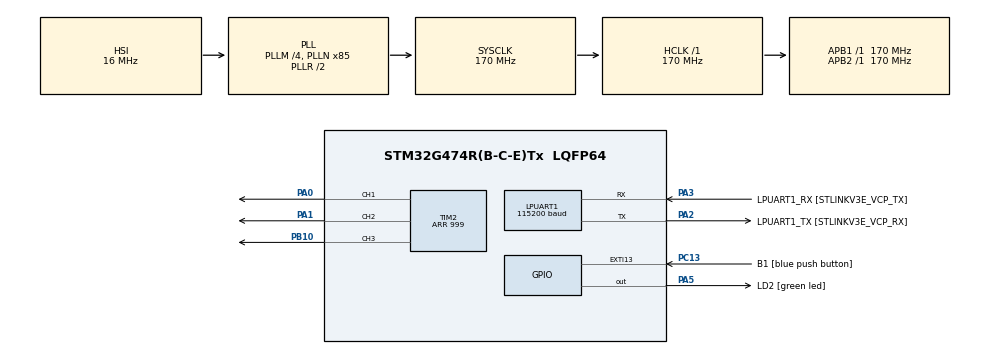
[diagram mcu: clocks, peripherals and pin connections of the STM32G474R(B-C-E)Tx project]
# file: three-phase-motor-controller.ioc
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Dma.Request0=TIM2_CH1
Dma.Request1=TIM2_CH2
Dma.Request2=TIM2_CH3
Dma.TIM2_CH1.0.Direction=DMA_MEMORY_TO_PERIPH
Dma.TIM2_CH1.0.EventEnable=DISABLE
Dma.TIM2_CH1.0.Instance=DMA1_Channel1
Dma.TIM2_CH1.0.MemDataAlignment=DMA_MDATAALIGN_WORD
Dma.TIM2_CH1.0.MemInc=DMA_MINC_ENABLE
Dma.TIM2_CH1.0.Mode=DMA_CIRCULAR
Dma.TIM2_CH1.0.PeriphDataAlignment=DMA_PDATAALIGN_WORD
Dma.TIM2_CH1.0.PeriphInc=DMA_PINC_DISABLE
Dma.TIM2_CH1.0.Polarity=HAL_DMAMUX_REQ_GEN_RISING
Dma.TIM2_CH1.0.Priority=DMA_PRIORITY_HIGH
Dma.TIM2_CH1.0.RequestNumber=1
Dma.TIM2_CH1.0.SignalID=NONE
Dma.TIM2_CH1.0.SyncEnable=DISABLE
Dma.TIM2_CH1.0.SyncPolarity=HAL_DMAMUX_SYNC_NO_EVENT
Dma.TIM2_CH1.0.SyncRequestNumber=1
Dma.TIM2_CH1.0.SyncSignalID=NONE
Dma.TIM2_CH2.1.Direction=DMA_MEMORY_TO_PERIPH
Dma.TIM2_CH2.1.EventEnable=DISABLE
Dma.TIM2_CH2.1.Instance=DMA1_Channel2
Dma.TIM2_CH2.1.MemDataAlignment=DMA_MDATAALIGN_WORD
Dma.TIM2_CH2.1.MemInc=DMA_MINC_ENABLE
Dma.TIM2_CH2.1.Mode=DMA_CIRCULAR
Dma.TIM2_CH2.1.PeriphDataAlignment=DMA_PDATAALIGN_WORD
Dma.TIM2_CH2.1.PeriphInc=DMA_PINC_DISABLE
Dma.TIM2_CH2.1.Polarity=HAL_DMAMUX_REQ_GEN_RISING
Dma.TIM2_CH2.1.Priority=DMA_PRIORITY_HIGH
Dma.TIM2_CH2.1.RequestNumber=1
Dma.TIM2_CH2.1.SignalID=NONE
Dma.TIM2_CH2.1.SyncEnable=DISABLE
Dma.TIM2_CH2.1.SyncPolarity=HAL_DMAMUX_SYNC_NO_EVENT
Dma.TIM2_CH2.1.SyncRequestNumber=1
Dma.TIM2_CH2.1.SyncSignalID=NONE
Dma.TIM2_CH3.2.Direction=DMA_MEMORY_TO_PERIPH
Dma.TIM2_CH3.2.EventEnable=DISABLE
Dma.TIM2_CH3.2.Instance=DMA1_Channel3
Dma.TIM2_CH3.2.MemDataAlignment=DMA_MDATAALIGN_WORD
Dma.TIM2_CH3.2.MemInc=DMA_MINC_ENABLE
Dma.TIM2_CH3.2.Mode=DMA_CIRCULAR
Dma.TIM2_CH3.2.PeriphDataAlignment=DMA_PDATAALIGN_WORD
Dma.TIM2_CH3.2.PeriphInc=DMA_PINC_DISABLE
Dma.TIM2_CH3.2.Polarity=HAL_DMAMUX_REQ_GEN_RISING
Dma.TIM2_CH3.2.Priority=DMA_PRIORITY_LOW
Dma.TIM2_CH3.2.RequestNumber=1
Dma.TIM2_CH3.2.SignalID=NONE
Dma.TIM2_CH3.2.SyncEnable=DISABLE
Dma.TIM2_CH3.2.SyncPolarity=HAL_DMAMUX_SYNC_NO_EVENT
Dma.TIM2_CH3.2.SyncRequestNumber=1
Dma.TIM2_CH3.2.SyncSignalID=NONE
LPUART1.BaudRate=115200
LPUART1.WordLength=UART_WORDLENGTH_8B
Mcu.Family=STM32G4
Mcu.Name=STM32G474R(B-C-E)Tx
Mcu.Package=LQFP64
NVIC.DMA1_Channel1_IRQn=true\:0\:0\:false\:false\:true\:false\:true
NVIC.DMA1_Channel2_IRQn=true\:0\:0\:false\:false\:true\:false\:true
NVIC.DMA1_Channel3_IRQn=true\:0\:0\:false\:false\:true\:false\:true
NVIC.EXTI15_10_IRQn=true\:0\:0\:false\:false\:true\:true\:true
NVIC.PriorityGroup=NVIC_PRIORITYGROUP_4
NVIC.TIM2_IRQn=true\:0\:0\:false\:false\:true\:true\:true
PA0.Signal=S_TIM2_CH1
PA1.Signal=S_TIM2_CH2
PA13.GPIO_Label=T_SWDIO
PA13.Mode=Serial_Wire
PA13.Signal=SYS_JTMS-SWDIO
PA14.GPIO_Label=T_SWCLK
PA14.Mode=Serial_Wire
PA14.Signal=SYS_JTCK-SWCLK
PA2.GPIO_Label=LPUART1_TX [STLINKV3E_VCP_RX]
PA2.Mode=Asynchronous
PA2.Signal=LPUART1_TX
PA3.GPIO_Label=LPUART1_RX [STLINKV3E_VCP_TX]
PA3.Mode=Asynchronous
PA3.Signal=LPUART1_RX
PA5.GPIO_Label=LD2 [green led]
PA5.Signal=GPIO_Output
PB10.Signal=S_TIM2_CH3
PB3.GPIO_Label=T_SWO
PB3.Signal=SYS_JTDO-SWO
PC13.GPIO_Label=B1 [blue push button]
PC13.Signal=GPXTI13
PC14-OSC32_IN.Mode=LSE-External-Oscillator
PC14-OSC32_IN.Signal=RCC_OSC32_IN
PC15-OSC32_OUT.Mode=LSE-External-Oscillator
PC15-OSC32_OUT.Signal=RCC_OSC32_OUT
PF0-OSC_IN.Mode=HSE-External-Oscillator
PF0-OSC_IN.Signal=RCC_OSC_IN
PF1-OSC_OUT.Mode=HSE-External-Oscillator
PF1-OSC_OUT.Signal=RCC_OSC_OUT
ProjectManager.HeapSize=0x200
ProjectManager.StackSize=0x400
ProjectManager.TargetToolchain=Makefile
RCC.ADC12Freq_Value=170000000
RCC.ADC345Freq_Value=170000000
RCC.AHBFreq_Value=170000000
RCC.APB1Freq_Value=170000000
RCC.APB1TimFreq_Value=170000000
RCC.APB2Freq_Value=170000000
RCC.APB2TimFreq_Value=170000000
RCC.CortexFreq_Value=170000000
RCC.EXTERNAL_CLOCK_VALUE=12288000
RCC.HCLKFreq_Value=170000000
RCC.HSE_VALUE=24000000
RCC.HSI48_VALUE=48000000
RCC.HSI_VALUE=16000000
RCC.PLLM=RCC_PLLM_DIV4
RCC.PLLN=85
RCC.RTCClockSelection=RCC_RTCCLKSOURCE_LSE
RCC.SYSCLKFreq_VALUE=170000000
RCC.SYSCLKSource=RCC_SYSCLKSOURCE_PLLCLK
RCC.USBFreq_Value=170000000
RCC.VCOOutputFreq_Value=340000000
SH.S_TIM2_CH1.0=TIM2_CH1,PWM Generation1 CH1
SH.S_TIM2_CH2.0=TIM2_CH2,PWM Generation2 CH2
SH.S_TIM2_CH3.0=TIM2_CH3,PWM Generation3 CH3
TIM2.Channel-PWM\ Generation1\ CH1=TIM_CHANNEL_1
TIM2.Channel-PWM\ Generation2\ CH2=TIM_CHANNEL_2
TIM2.Channel-PWM\ Generation3\ CH3=TIM_CHANNEL_3
TIM2.PeriodNoDither=999
VP_SYS_VS_DBSignals.Mode=DisableDeadBatterySignals
VP_TIM2_VS_ClockSourceINT.Mode=Internal
board=NUCLEO-G474RE

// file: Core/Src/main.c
/* USER CODE BEGIN Header */
/**
 ******************************************************************************
 * @file           : main.c
 * @brief          : Main program body
 ******************************************************************************
 * @attention
 *
 * <h2><center>&copy; Copyright (c) 2020 STMicroelectronics.
 * All rights reserved.</center></h2>
 *
 * This software component is licensed by ST under BSD 3-Clause license,
 * the "License"; You may not use this file except in compliance with the
 * License. You may obtain a copy of the License at:
 *                        opensource.org/licenses/BSD-3-Clause
 *
 ******************************************************************************
 */
/* USER CODE END Header */
#include "main.h"

#include "dma.h"
#include "gpio.h"
#include "tim.h"
#include "usart.h"

/* USER CODE BEGIN Includes */
#include "math.h"

/* USER CODE END Includes */

/* USER CODE BEGIN PD */
#define good_sampling_value 300
/* USER CODE END PD */

/* USER CODE BEGIN PV */
uint32_t sin_samp_chn1[] = {
    5312,  5729,  6143,  6552,  6954,  7345,  7724,  8088,  8435,  8762,
    9069,  9352,  9610,  9842,  10045, 10220, 10364, 10478, 10559, 10608,
    10625, 10608, 10559, 10478, 10364, 10220, 10045, 9842,  9610,  9352,
    9069,  8762,  8435,  8088,  7724,  7345,  6954,  6552,  6143,  5729,
    5312,  4895,  4481,  4072,  3670,  3279,  2900,  2536,  2189,  1862,
    1555,  1272,  1014,  782,   579,   404,   260,   146,   65,    16,
    0,     16,    65,    146,   260,   404,   579,   782,   1014,  1272,
    1555,  1862,  2189,  2536,  2900,  3279,  3670,  4072,  4481,  4895};
uint32_t sin_samp_chn2[] = {
    9913,  9690,  9441,  9166,  8867,  8546,  8205,  7847,  7473,  7085,
    6687,  6280,  5867,  5451,  5034,  4619,  4207,  3803,  3408,  3025,
    2656,  2303,  1969,  1655,  1364,  1097,  857,   643,   459,   304,
    181,   88,    29,    1,     7,     45,    116,   218,   352,   517,
    711,   934,   1183,  1458,  1757,  2078,  2419,  2777,  3151,  3539,
    3937,  4344,  4757,  5173,  5590,  6005,  6417,  6821,  7216,  7599,
    7968,  8321,  8655,  8969,  9260,  9527,  9767,  9981,  10165, 10320,
    10443, 10536, 10595, 10623, 10617, 10579, 10508, 10406, 10272, 10107};
uint32_t sin_samp_chn3[] = {
    711,   517,   352,   218,   116,   45,    7,     1,     29,    88,
    181,   304,   459,   643,   857,   1097,  1364,  1655,  1969,  2303,
    2656,  3025,  3408,  3803,  4207,  4619,  5034,  5451,  5867,  6280,
    6687,  7085,  7473,  7847,  8205,  8546,  8867,  9166,  9441,  9690,
    9913,  10107, 10272, 10406, 10508, 10579, 10617, 10623, 10595, 10536,
    10443, 10320, 10165, 9981,  9767,  9527,  9260,  8969,  8655,  8321,
    7968,  7599,  7216,  6821,  6417,  6005,  5590,  5173,  4757,  4344,
    3937,  3539,  3151,  2777,  2419,  2078,  1757,  1458,  1183,  934};
uint8_t sin_samp_chnX_size = sizeof(sin_samp_chn1) / sizeof(sin_samp_chn1[0]);
uint8_t _position = 0;
/* USER CODE END PV */

void SystemClock_Config(void);
/* USER CODE BEGIN PFP */
uint32_t get_timer_period_hz(uint16_t);
/* USER CODE END PFP */

int main(void) {

  /* MCU Configuration--------------------------------------------------------*/

  /* Reset of all peripherals, Initializes the Flash interface and the Systick.
   */
  HAL_Init();

  /* Configure the system clock */
  SystemClock_Config();

  /* Initialize all configured peripherals */
  MX_GPIO_Init();
  MX_DMA_Init();
  MX_LPUART1_UART_Init();
  MX_TIM2_Init();
  /* USER CODE BEGIN 2 */
  __HAL_TIM_SET_PRESCALER(&htim2, 3);
  __HAL_TIM_SET_AUTORELOAD(&htim2, 10625);
  //__HAL_TIM_ENABLE_OCxPRELOAD(&htim2, TIM_CHANNEL_1);
  if (HAL_TIM_PWM_Start_DMA(&htim2, TIM_CHANNEL_1, sin_samp_chn1,
                            sin_samp_chnX_size) != HAL_OK) {
    Error_Handler();
  }
  if (HAL_TIM_PWM_Start_DMA(&htim2, TIM_CHANNEL_2, sin_samp_chn2,
                            sin_samp_chnX_size) != HAL_OK) {
    Error_Handler();
  }
  if (HAL_TIM_PWM_Start_DMA(&htim2, TIM_CHANNEL_3, sin_samp_chn3,
                            sin_samp_chnX_size) != HAL_OK) {
    Error_Handler();
  }
  /* USER CODE END 2 */

  /* Infinite loop */
  while (1) {

  }
}

void SystemClock_Config(void) {
  RCC_OscInitTypeDef RCC_OscInitStruct = {0};
  RCC_ClkInitTypeDef RCC_ClkInitStruct = {0};
  RCC_PeriphCLKInitTypeDef PeriphClkInit = {0};

  /** Configure the main internal regulator output voltage
   */
  HAL_PWREx_ControlVoltageScaling(PWR_REGULATOR_VOLTAGE_SCALE1_BOOST);
  /** Initializes the RCC Oscillators according to the specified parameters
   * in the RCC_OscInitTypeDef structure.
   */
  RCC_OscInitStruct.OscillatorType = RCC_OSCILLATORTYPE_HSI;
  RCC_OscInitStruct.HSIState = RCC_HSI_ON;
  RCC_OscInitStruct.HSICalibrationValue = RCC_HSICALIBRATION_DEFAULT;
  RCC_OscInitStruct.PLL.PLLState = RCC_PLL_ON;
  RCC_OscInitStruct.PLL.PLLSource = RCC_PLLSOURCE_HSI;
  RCC_OscInitStruct.PLL.PLLM = RCC_PLLM_DIV4;
  RCC_OscInitStruct.PLL.PLLN = 85;
  RCC_OscInitStruct.PLL.PLLP = RCC_PLLP_DIV2;
  RCC_OscInitStruct.PLL.PLLQ = RCC_PLLQ_DIV2;
  RCC_OscInitStruct.PLL.PLLR = RCC_PLLR_DIV2;
  if (HAL_RCC_OscConfig(&RCC_OscInitStruct) != HAL_OK) {
    Error_Handler();
  }
  /** Initializes the CPU, AHB and APB buses clocks
   */
  RCC_ClkInitStruct.ClockType = RCC_CLOCKTYPE_HCLK | RCC_CLOCKTYPE_SYSCLK |
                                RCC_CLOCKTYPE_PCLK1 | RCC_CLOCKTYPE_PCLK2;
  RCC_ClkInitStruct.SYSCLKSource = RCC_SYSCLKSOURCE_PLLCLK;
  RCC_ClkInitStruct.AHBCLKDivider = RCC_SYSCLK_DIV1;
  RCC_ClkInitStruct.APB1CLKDivider = RCC_HCLK_DIV1;
  RCC_ClkInitStruct.APB2CLKDivider = RCC_HCLK_DIV1;

  if (HAL_RCC_ClockConfig(&RCC_ClkInitStruct, FLASH_LATENCY_4) != HAL_OK) {
    Error_Handler();
  }
  /** Initializes the peripherals clocks
   */
  PeriphClkInit.PeriphClockSelection = RCC_PERIPHCLK_LPUART1;
  PeriphClkInit.Lpuart1ClockSelection = RCC_LPUART1CLKSOURCE_PCLK1;
  if (HAL_RCCEx_PeriphCLKConfig(&PeriphClkInit) != HAL_OK) {
    Error_Handler();
  }
}

void Error_Handler(void) {
  __disable_irq();
  while (1) {
  }
}

#ifdef USE_FULL_ASSERT
/**
 * @brief  Reports the name of the source file and the source line number
 *         where the assert_param error has occurred.
 * @param  file: pointer to the source file name
 * @param  line: assert_param error line source number
 * @retval None
 */
void assert_failed(uint8_t *file, uint32_t line) {
  /* USER CODE BEGIN 6 */
  /* User can add his own implementation to report the file name and line
number,
ex: printf("Wrong parameters value: file %s on line %d\r\n", file, line) */
  /* USER CODE END 6 */
}
#endif /* USE_FULL_ASSERT */

/************************ (C) COPYRIGHT STMicroelectronics *****END OF FILE****/
